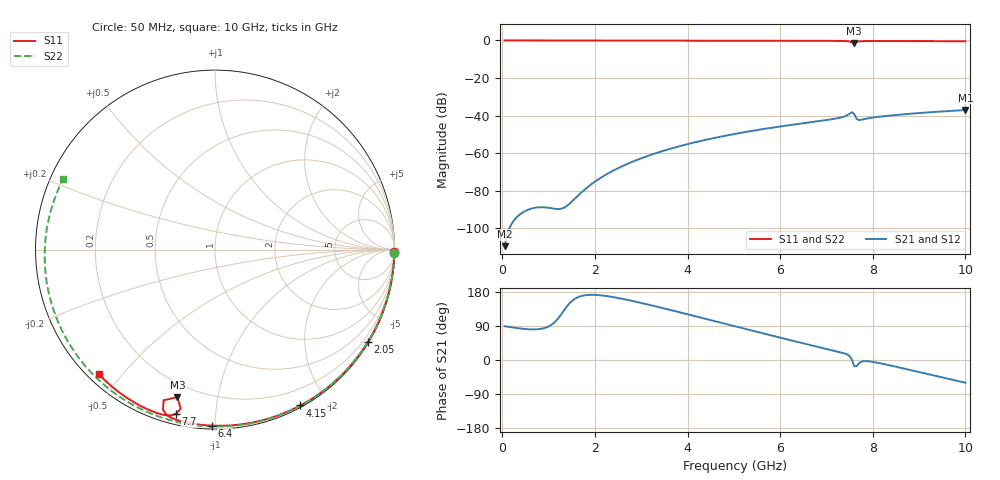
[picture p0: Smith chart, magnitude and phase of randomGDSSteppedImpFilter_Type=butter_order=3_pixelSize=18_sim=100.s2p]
! freq	dB(S11)	phase(S11)	dB(S12)	phase(S12)
!  dB(S21)	phase(S21)	dB(S22)	phase(S22)
!S-par simulation data
#  GHz  S  DB  R 50
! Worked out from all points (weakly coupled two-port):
!   200 points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, 50 MHz to 10 GHz, reference 50 ohm
!   highest |S21| = -37.10 dB at 10 GHz (marker M1); lowest = -109.6 dB at 50 MHz (marker M2)
!   lowest |S11| = -1.4 dB at 7.6 GHz (marker M3), VSWR 12.17, Z = 6.56 - j38.4 ohm
!   |S11| at or under -10 dB: nowhere
!   |S22| runs from -0.6 to 0.0 dB; largest |S21 - S12| = 0
!   S11 on the Smith chart (normalised r, x): 50 MHz: open; 2.05 GHz: 0.03, -3.59; 4.15 GHz: 0.02, -1.69; 6.4 GHz: 0.02, -0.98; 7.7 GHz: 0.05, -0.79; 10 GHz: 0.03, -0.43
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0.05  -0.00 -0.8  -109.64 89.1  -109.64 89.1  -0.00 -1.2
0.85  -0.02 -13.1  -88.88 82.6  -88.88 82.6  -0.03 -20.0
1.75  -0.03 -26.7  -80.10 170.1  -80.10 170.1  -0.05 -40.7
2.05  -0.04 -31.1  -74.43 171.5  -74.43 171.5  -0.06 -47.5
2.35  -0.05 -35.6  -69.98 166.9  -69.98 166.9  -0.07 -54.1
2.65  -0.05 -40.0  -66.34 160.0  -66.34 160.0  -0.08 -60.7
3.4  -0.07 -50.8  -59.42 138.9  -59.42 138.9  -0.10 -76.5
4.15  -0.09 -61.3  -54.34 116.1  -54.34 116.1  -0.13 -91.8
5.05  -0.11 -73.5  -49.68 88.2  -49.68 88.2  -0.16 -109.4
5.7  -0.14 -82.0  -46.97 68.1  -46.97 68.1  -0.20 -121.7
6.4  -0.17 -91.1  -44.45 46.9  -44.45 46.9  -0.24 -134.7
6.7  -0.18 -94.9  -43.45 37.9  -43.45 37.9  -0.27 -140.2
7.3  -0.25 -103.3  -41.11 20.4  -41.11 20.4  -0.31 -151.3
7.5  -0.56 -108.0  -39.08 10.5  -39.08 10.5  -0.33 -155.0
7.55  -1.04 -108.8  -38.24 0.5  -38.24 0.5  -0.33 -156.0
7.6  -1.43 -104.3  -39.21 -16.4  -39.21 -16.4  -0.34 -156.9
7.65  -0.85 -102.2  -41.74 -16.5  -41.74 -16.5  -0.34 -157.9
7.7  -0.53 -103.4  -42.41 -8.8  -42.41 -8.8  -0.35 -158.8
7.9  -0.31 -107.5  -41.50 -3.3  -41.50 -3.3  -0.37 -162.5
8.35  -0.31 -113.6  -40.08 -13.6  -40.08 -13.6  -0.41 -171.1
9.2  -0.37 -123.9  -38.34 -37.5  -38.34 -37.5  -0.51 172.1
10  -0.45 -133.1  -37.10 -60.0  -37.10 -60.0  -0.60 155.2
